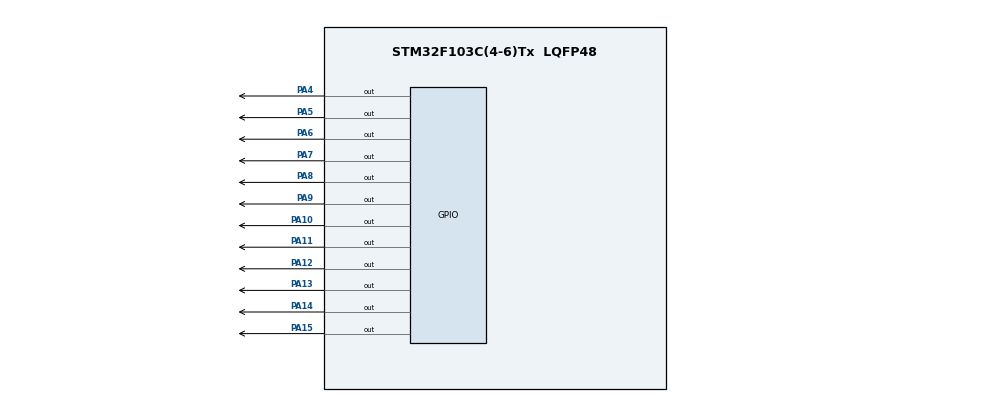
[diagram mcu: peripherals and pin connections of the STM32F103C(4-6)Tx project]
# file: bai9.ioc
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Mcu.Family=STM32F1
Mcu.Name=STM32F103C(4-6)Tx
Mcu.Package=LQFP48
NVIC.PriorityGroup=NVIC_PRIORITYGROUP_4
PA10.Signal=GPIO_Output
PA11.Signal=GPIO_Output
PA12.Signal=GPIO_Output
PA13.Signal=GPIO_Output
PA14.Signal=GPIO_Output
PA15.Signal=GPIO_Output
PA4.Signal=GPIO_Output
PA5.Signal=GPIO_Output
PA6.Signal=GPIO_Output
PA7.Signal=GPIO_Output
PA8.Signal=GPIO_Output
PA9.Signal=GPIO_Output
ProjectManager.HeapSize=0x200
ProjectManager.StackSize=0x400
ProjectManager.TargetToolchain=STM32CubeIDE
RCC.APB1Freq_Value=8000000
RCC.APB2Freq_Value=8000000
board=custom

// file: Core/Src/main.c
/* USER CODE BEGIN Header */
/**
  ******************************************************************************
  * @file           : main.c
  * @brief          : Main program body
  ******************************************************************************
  * @attention
  *
  * Copyright (c) 2022 STMicroelectronics.
  * All rights reserved.
  *
  * This software is licensed under terms that can be found in the LICENSE file
  * in the root directory of this software component.
  * If no LICENSE file comes with this software, it is provided AS-IS.
  *
  ******************************************************************************
  */
/* USER CODE END Header */
#include "main.h"

void SystemClock_Config(void);
static void MX_GPIO_Init(void);

/* USER CODE BEGIN 0 */
void setNumberOnClock(int num);
void clearNumberOnClock(int num);
/* USER CODE END 0 */

int main(void)
{

  /* MCU Configuration--------------------------------------------------------*/

  /* Reset of all peripherals, Initializes the Flash interface and the Systick. */
  HAL_Init();

  /* Configure the system clock */
  SystemClock_Config();

  /* Initialize all configured peripherals */
  MX_GPIO_Init();

  /* Infinite loop */
  /* USER CODE BEGIN WHILE */
  GPIOA->ODR = 0x0000;
  while (1)
  {
	  setNumberOnClock(0);
	  setNumberOnClock(1);
	  setNumberOnClock(2);
	  setNumberOnClock(6);
	  setNumberOnClock(7);
	  setNumberOnClock(8);
	  HAL_Delay(2000);
	  clearNumberOnClock(2);
	  clearNumberOnClock(2);
	  clearNumberOnClock(7);
	  clearNumberOnClock(8);
	  HAL_Delay(1000);
    /* USER CODE END WHILE */

  }
}

void SystemClock_Config(void)
{
  RCC_OscInitTypeDef RCC_OscInitStruct = {0};
  RCC_ClkInitTypeDef RCC_ClkInitStruct = {0};

  /** Initializes the RCC Oscillators according to the specified parameters
  * in the RCC_OscInitTypeDef structure.
  */
  RCC_OscInitStruct.OscillatorType = RCC_OSCILLATORTYPE_HSI;
  RCC_OscInitStruct.HSIState = RCC_HSI_ON;
  RCC_OscInitStruct.HSICalibrationValue = RCC_HSICALIBRATION_DEFAULT;
  RCC_OscInitStruct.PLL.PLLState = RCC_PLL_NONE;
  if (HAL_RCC_OscConfig(&RCC_OscInitStruct) != HAL_OK)
  {
    Error_Handler();
  }

  /** Initializes the CPU, AHB and APB buses clocks
  */
  RCC_ClkInitStruct.ClockType = RCC_CLOCKTYPE_HCLK|RCC_CLOCKTYPE_SYSCLK
                              |RCC_CLOCKTYPE_PCLK1|RCC_CLOCKTYPE_PCLK2;
  RCC_ClkInitStruct.SYSCLKSource = RCC_SYSCLKSOURCE_HSI;
  RCC_ClkInitStruct.AHBCLKDivider = RCC_SYSCLK_DIV1;
  RCC_ClkInitStruct.APB1CLKDivider = RCC_HCLK_DIV1;
  RCC_ClkInitStruct.APB2CLKDivider = RCC_HCLK_DIV1;

  if (HAL_RCC_ClockConfig(&RCC_ClkInitStruct, FLASH_LATENCY_0) != HAL_OK)
  {
    Error_Handler();
  }
}

static void MX_GPIO_Init(void)
{
  GPIO_InitTypeDef GPIO_InitStruct = {0};

  /* GPIO Ports Clock Enable */
  __HAL_RCC_GPIOA_CLK_ENABLE();

  /*Configure GPIO pin Output Level */
  HAL_GPIO_WritePin(GPIOA, GPIO_PIN_4|GPIO_PIN_5|GPIO_PIN_6|GPIO_PIN_7
                          |GPIO_PIN_8|GPIO_PIN_9|GPIO_PIN_10|GPIO_PIN_11
                          |GPIO_PIN_12|GPIO_PIN_13|GPIO_PIN_14|GPIO_PIN_15, GPIO_PIN_RESET);

  /*Configure GPIO pins : PA4 PA5 PA6 PA7
                           PA8 PA9 PA10 PA11
                           PA12 PA13 PA14 PA15 */
  GPIO_InitStruct.Pin = GPIO_PIN_4|GPIO_PIN_5|GPIO_PIN_6|GPIO_PIN_7
                          |GPIO_PIN_8|GPIO_PIN_9|GPIO_PIN_10|GPIO_PIN_11
                          |GPIO_PIN_12|GPIO_PIN_13|GPIO_PIN_14|GPIO_PIN_15;
  GPIO_InitStruct.Mode = GPIO_MODE_OUTPUT_PP;
  GPIO_InitStruct.Pull = GPIO_NOPULL;
  GPIO_InitStruct.Speed = GPIO_SPEED_FREQ_LOW;
  HAL_GPIO_Init(GPIOA, &GPIO_InitStruct);

}

/* USER CODE BEGIN 4 */
unsigned char status[12] = {};
unsigned int buffer = 0x0000;
void setNumberOnClock(int num) {
	if (num < 0 || num > 11) {
		return;
	}
	if (status[num] == 0) {
		unsigned int hex_num = 0x10 << num;
		buffer += hex_num;
		status[num] = 1;
		GPIOA->ODR = buffer;
	}
}
void clearNumberOnClock(int num) {
	if (num < 0 || num > 11) {
		return;
	}
	if (status[num] == 1) {
		unsigned int hex_num = 0x10 << num;
		buffer -= hex_num;
		status[num] = 0;
		GPIOA->ODR = buffer;
	}
}
/* USER CODE END 4 */

void Error_Handler(void)
{
  __disable_irq();
  while (1)
  {
  }
}
